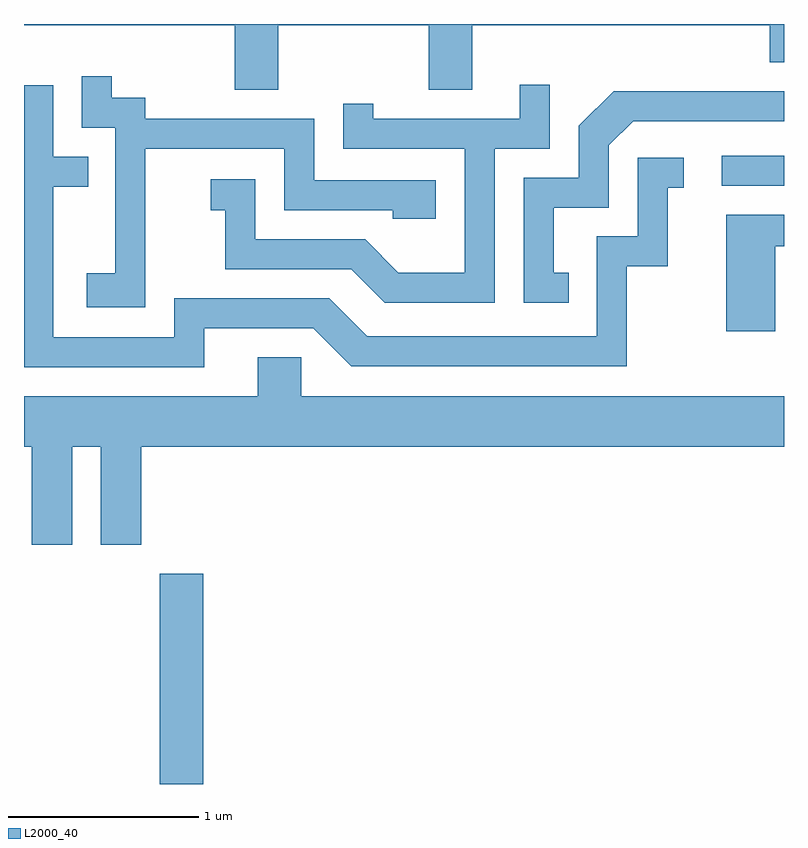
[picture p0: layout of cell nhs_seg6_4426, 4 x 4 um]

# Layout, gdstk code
import gdstk
lib = gdstk.Library(unit=1e-6, precision=1e-09)
def R(c, l, rs):  # rectangles x0, y0, x1, y1
    for r in rs: c.add(gdstk.rectangle(r[:2], r[2:], *l))
def P(c, l, *ps):  # polygons
    for p in ps: c.add(gdstk.Polygon(p, *l))
L2000_40 = (2000, 40)

nhs_seg6_4426 = lib.new_cell('nhs_seg6_4426')
R(nhs_seg6_4426, L2000_40, [(320.326,1648.162,320.554,1649.269), (323.283,1651.311,323.611,1651.469)])
P(nhs_seg6_4426, L2000_40, [(320.949,1652.156),(321.741,1652.156),(321.741,1651.816),(321.969,1651.816),(321.969,1652.156),(323.536,1652.156),(323.536,1651.961),(323.611,1651.961),(323.611,1652.162),(319.611,1652.162),(319.611,1652.156),(320.721,1652.156),(320.721,1651.816),(320.949,1651.816)],
  [(320.249,1651.506),(320.981,1651.506),(320.981,1651.181),(321.551,1651.181),(321.551,1651.136),(321.779,1651.136),(321.779,1651.339),(321.139,1651.339),(321.139,1651.664),(320.249,1651.664),(320.249,1651.774),(320.074,1651.774),(320.074,1651.888),(319.916,1651.888),(319.916,1651.616),(320.091,1651.616),(320.091,1650.849),(319.941,1650.849),(319.941,1650.671),(320.249,1650.671)],
  [(322.089,1651.506),(322.379,1651.506),(322.379,1651.843),(322.221,1651.843),(322.221,1651.664),(321.449,1651.664),(321.449,1651.743),(321.291,1651.743),(321.291,1651.506),(321.931,1651.506),(321.931,1650.854),(321.582,1650.854),(321.407,1651.029),(320.829,1651.029),(320.829,1651.344),(320.593,1651.344),(320.593,1651.181),(320.671,1651.181),(320.671,1650.871),(321.334,1650.871),(321.509,1650.696),(322.089,1650.696)],
  [(320.559,1650.561),(321.134,1650.561),(321.334,1650.361),(322.784,1650.361),(322.784,1650.886),(322.999,1650.886),(322.999,1651.301),(323.083,1651.301),(323.083,1651.459),(322.841,1651.459),(322.841,1651.044),(322.626,1651.044),(322.626,1650.519),(321.417,1650.519),(321.217,1650.719),(320.401,1650.719),(320.401,1650.514),(319.764,1650.514),(319.764,1651.306),(319.948,1651.306),(319.948,1651.464),(319.764,1651.464),(319.764,1651.839),(319.611,1651.839),(319.611,1650.356),(320.559,1650.356)],
  [(322.478,1650.854),(322.399,1650.854),(322.399,1651.196),(322.689,1651.196),(322.689,1651.524),(322.817,1651.651),(323.611,1651.651),(323.611,1651.809),(322.714,1651.809),(322.531,1651.627),(322.531,1651.354),(322.241,1651.354),(322.241,1650.696),(322.478,1650.696)],
  [(323.564,1650.991),(323.611,1650.991),(323.611,1651.159),(323.306,1651.159),(323.306,1650.546),(323.564,1650.546)],
  [(319.864,1649.936),(320.016,1649.936),(320.016,1649.421),(320.229,1649.421),(320.229,1649.936),(323.611,1649.936),(323.611,1650.204),(321.069,1650.204),(321.069,1650.409),(320.841,1650.409),(320.841,1650.204),(319.611,1650.204),(319.611,1649.936),(319.651,1649.936),(319.651,1649.421),(319.864,1649.421)])

lib.write_gds('nhs_seg6_4426.gds')
